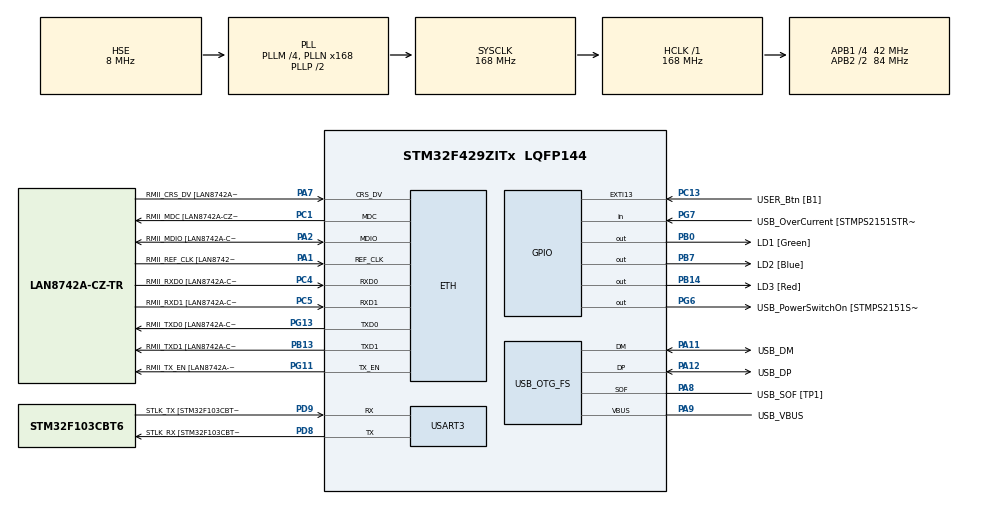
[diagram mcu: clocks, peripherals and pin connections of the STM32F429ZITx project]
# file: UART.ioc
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ETH.MediaInterface=HAL_ETH_RMII_MODE
ETH.PHY_Name=LAN8742A_PHY_ADDRESS
ETH.PHY_Value=0
ETH.PhyAddress=0
Mcu.Family=STM32F4
Mcu.Name=STM32F429ZITx
Mcu.Package=LQFP144
NVIC.PriorityGroup=NVIC_PRIORITYGROUP_4
NVIC.USART3_IRQn=true\:0\:0\:false\:true\:true\:1\:true\:true\:true
PA1.GPIO_Label=RMII_REF_CLK [LAN8742A-CZ-TR_REFCLK0]
PA1.Mode=RMII
PA1.Signal=ETH_REF_CLK
PA10.GPIO_Label=USB_ID
PA10.Signal=USB_OTG_FS_ID
PA11.GPIO_Label=USB_DM
PA11.Mode=Device_Only
PA11.Signal=USB_OTG_FS_DM
PA12.GPIO_Label=USB_DP
PA12.Mode=Device_Only
PA12.Signal=USB_OTG_FS_DP
PA13.GPIO_Label=TMS
PA13.Mode=Serial_Wire
PA13.Signal=SYS_JTMS-SWDIO
PA14.GPIO_Label=TCK
PA14.Mode=Serial_Wire
PA14.Signal=SYS_JTCK-SWCLK
PA2.GPIO_Label=RMII_MDIO [LAN8742A-CZ-TR_MDIO]
PA2.Mode=RMII
PA2.Signal=ETH_MDIO
PA7.GPIO_Label=RMII_CRS_DV [LAN8742A-CZ-TR_CRS_DV]
PA7.Mode=RMII
PA7.Signal=ETH_CRS_DV
PA8.GPIO_Label=USB_SOF [TP1]
PA8.Mode=Activate_SOF_FS
PA8.Signal=USB_OTG_FS_SOF
PA9.GPIO_Label=USB_VBUS
PA9.Mode=Activate_VBUS
PA9.Signal=USB_OTG_FS_VBUS
PB0.GPIO_Label=LD1 [Green]
PB0.Signal=GPIO_Output
PB13.GPIO_Label=RMII_TXD1 [LAN8742A-CZ-TR_TXD1]
PB13.Mode=RMII
PB13.Signal=ETH_TXD1
PB14.GPIO_Label=LD3 [Red]
PB14.Signal=GPIO_Output
PB7.GPIO_Label=LD2 [Blue]
PB7.Signal=GPIO_Output
PC1.GPIO_Label=RMII_MDC [LAN8742A-CZ-TR_MDC]
PC1.Mode=RMII
PC1.Signal=ETH_MDC
PC13.GPIO_Label=USER_Btn [B1]
PC13.Signal=GPXTI13
PC14/OSC32_IN.Mode=LSE-External-Oscillator
PC14/OSC32_IN.Signal=RCC_OSC32_IN
PC15/OSC32_OUT.Mode=LSE-External-Oscillator
PC15/OSC32_OUT.Signal=RCC_OSC32_OUT
PC4.GPIO_Label=RMII_RXD0 [LAN8742A-CZ-TR_RXD0]
PC4.Mode=RMII
PC4.Signal=ETH_RXD0
PC5.GPIO_Label=RMII_RXD1 [LAN8742A-CZ-TR_RXD1]
PC5.Mode=RMII
PC5.Signal=ETH_RXD1
PD8.GPIO_Label=STLK_RX [STM32F103CBT6_PA3]
PD8.Mode=Asynchronous
PD8.Signal=USART3_TX
PD9.GPIO_Label=STLK_TX [STM32F103CBT6_PA2]
PD9.Mode=Asynchronous
PD9.Signal=USART3_RX
PG11.GPIO_Label=RMII_TX_EN [LAN8742A-CZ-TR_TXEN]
PG11.Mode=RMII
PG11.Signal=ETH_TX_EN
PG13.GPIO_Label=RMII_TXD0 [LAN8742A-CZ-TR_TXD0]
PG13.Mode=RMII
PG13.Signal=ETH_TXD0
PG6.GPIO_Label=USB_PowerSwitchOn [STMPS2151STR_EN]
PG6.Signal=GPIO_Output
PG7.GPIO_Label=USB_OverCurrent [STMPS2151STR_FAULT]
PG7.Signal=GPIO_Input
PH0/OSC_IN.GPIO_Label=MCO [STM32F103CBT6_PA8]
PH0/OSC_IN.Mode=HSE-External-Clock-Source
PH0/OSC_IN.Signal=RCC_OSC_IN
PH1/OSC_OUT.Mode=HSE-External-Clock-Source
PH1/OSC_OUT.Signal=RCC_OSC_OUT
ProjectManager.HeapSize=0x200
ProjectManager.StackSize=0x400
ProjectManager.TargetToolchain=STM32CubeIDE
RCC.48MHZClocksFreq_Value=48000000
RCC.AHBFreq_Value=168000000
RCC.APB1CLKDivider=RCC_HCLK_DIV4
RCC.APB1Freq_Value=42000000
RCC.APB1TimFreq_Value=84000000
RCC.APB2CLKDivider=RCC_HCLK_DIV2
RCC.APB2Freq_Value=84000000
RCC.APB2TimCLKDivider=2
RCC.APB2TimFreq_Value=168000000
RCC.CortexFreq_Value=168000000
RCC.HCLKFreq_Value=168000000
RCC.HSE_VALUE=8000000
RCC.HSI_VALUE=16000000
RCC.PLLM=4
RCC.PLLMUL=RCC_PLL_MUL9
RCC.PLLN=168
RCC.PLLQ=7
RCC.PRESCALERUSB=RCC_USBCLKSOURCE_PLL_DIV1_5
RCC.SYSCLKFreq_VALUE=168000000
RCC.SYSCLKSource=RCC_SYSCLKSOURCE_PLLCLK
RCC.SYSCLKSourceVirtual=RCC_SYSCLKSOURCE_PLLCLK
RCC.USBFreq_Value=48000000
RCC.VCOOutputFreq_Value=336000000
USART3.VirtualMode=VM_ASYNC
USB_OTG_FS.VirtualMode=Device_Only
board=NUCLEO-F429ZI

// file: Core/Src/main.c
/* USER CODE BEGIN Header */
/**
  ******************************************************************************
  * @file           : main.c
  * @brief          : Main program body
  ******************************************************************************
  * @attention
  *
  * Copyright (c) 2023 STMicroelectronics.
  * All rights reserved.
  *
  * This software is licensed under terms that can be found in the LICENSE file
  * in the root directory of this software component.
  * If no LICENSE file comes with this software, it is provided AS-IS.
  *
  ******************************************************************************
  */
/* USER CODE END Header */
#include "main.h"
#include "string.h"

/* USER CODE BEGIN Includes */
#include "stdio.h"

/* USER CODE END Includes */

ETH_TxPacketConfig TxConfig;
ETH_DMADescTypeDef  DMARxDscrTab[ETH_RX_DESC_CNT]; /* Ethernet Rx DMA Descriptors */
ETH_DMADescTypeDef  DMATxDscrTab[ETH_TX_DESC_CNT]; /* Ethernet Tx DMA Descriptors */

ETH_HandleTypeDef heth;

UART_HandleTypeDef huart3;

PCD_HandleTypeDef hpcd_USB_OTG_FS;

void SystemClock_Config(void);
static void MX_GPIO_Init(void);
static void MX_ETH_Init(void);
static void MX_USART3_UART_Init(void);
static void MX_USB_OTG_FS_PCD_Init(void);
static void MX_NVIC_Init(void);
/* USER CODE BEGIN PFP */

int _write(int fd, char *ptr, int len){
	HAL_UART_Transmit(&huart3, (unsigned char*)ptr, len, HAL_MAX_DELAY);
	return len;
}

int _read(int file, char *ptr, int len){
	HAL_UART_Receive(&huart3, (unsigned char*)ptr, len, HAL_MAX_DELAY);
	return len;
}

int __io_putchar(int ch){
	HAL_UART_Transmit(&huart3, (unsigned char*)&ch, 1, HAL_MAX_DELAY);
	return ch;
}

int __io_getchar(void){
	uint8_t ch = 0;
	HAL_UART_Receive(&huart3, (uint8_t *)&ch, 1, HAL_MAX_DELAY);
	return ch;
}
/* USER CODE END PFP */

/* USER CODE BEGIN 0 */
uint8_t data[] = "Hello STM32F429 World!!\n";
char uart_buf[30];
/* USER CODE END 0 */

int main(void)
{

  /* MCU Configuration--------------------------------------------------------*/

  /* Reset of all peripherals, Initializes the Flash interface and the Systick. */
  HAL_Init();

  /* Configure the system clock */
  SystemClock_Config();

  /* Initialize all configured peripherals */
  MX_GPIO_Init();
  MX_ETH_Init();
  MX_USART3_UART_Init();
  MX_USB_OTG_FS_PCD_Init();

  /* Initialize interrupts */
  MX_NVIC_Init();
  /* USER CODE BEGIN 2 */
  //char *str = "Hello world!";

  char str_2[256] = {0, };

  setvbuf(stdin, NULL, _IONBF, 0);
  setvbuf(stdout, NULL, _IONBF, 0);

  /* USER CODE END 2 */

  /* Infinite loop */
  while (1)
  {

	  if(HAL_UART_Receive(&huart3, (uint8_t *)&uart_buf,1,1000) == HAL_OK){
		  HAL_UART_Transmit(&huart3,(uint8_t *)&uart_buf, 1, 1000);
	  }
//	  scanf("%s", str_2);
//	  printf("%s\r\n", str_2);
//	  //printf("%s\r\n", str);
//	  HAL_Delay(500);
  }
}

void SystemClock_Config(void)
{
  RCC_OscInitTypeDef RCC_OscInitStruct = {0};
  RCC_ClkInitTypeDef RCC_ClkInitStruct = {0};

  /** Configure the main internal regulator output voltage
  */
  __HAL_RCC_PWR_CLK_ENABLE();
  __HAL_PWR_VOLTAGESCALING_CONFIG(PWR_REGULATOR_VOLTAGE_SCALE1);

  /** Initializes the RCC Oscillators according to the specified parameters
  * in the RCC_OscInitTypeDef structure.
  */
  RCC_OscInitStruct.OscillatorType = RCC_OSCILLATORTYPE_HSE;
  RCC_OscInitStruct.HSEState = RCC_HSE_BYPASS;
  RCC_OscInitStruct.PLL.PLLState = RCC_PLL_ON;
  RCC_OscInitStruct.PLL.PLLSource = RCC_PLLSOURCE_HSE;
  RCC_OscInitStruct.PLL.PLLM = 4;
  RCC_OscInitStruct.PLL.PLLN = 168;
  RCC_OscInitStruct.PLL.PLLP = RCC_PLLP_DIV2;
  RCC_OscInitStruct.PLL.PLLQ = 7;
  if (HAL_RCC_OscConfig(&RCC_OscInitStruct) != HAL_OK)
  {
    Error_Handler();
  }

  /** Initializes the CPU, AHB and APB buses clocks
  */
  RCC_ClkInitStruct.ClockType = RCC_CLOCKTYPE_HCLK|RCC_CLOCKTYPE_SYSCLK
                              |RCC_CLOCKTYPE_PCLK1|RCC_CLOCKTYPE_PCLK2;
  RCC_ClkInitStruct.SYSCLKSource = RCC_SYSCLKSOURCE_PLLCLK;
  RCC_ClkInitStruct.AHBCLKDivider = RCC_SYSCLK_DIV1;
  RCC_ClkInitStruct.APB1CLKDivider = RCC_HCLK_DIV4;
  RCC_ClkInitStruct.APB2CLKDivider = RCC_HCLK_DIV2;

  if (HAL_RCC_ClockConfig(&RCC_ClkInitStruct, FLASH_LATENCY_5) != HAL_OK)
  {
    Error_Handler();
  }
}

/**
  * @brief NVIC Configuration.
  * @retval None
  */
static void MX_NVIC_Init(void)
{
  /* USART3_IRQn interrupt configuration */
  HAL_NVIC_SetPriority(USART3_IRQn, 0, 0);
  HAL_NVIC_EnableIRQ(USART3_IRQn);
}

static void MX_ETH_Init(void)
{

   static uint8_t MACAddr[6];

  heth.Instance = ETH;
  MACAddr[0] = 0x00;
  MACAddr[1] = 0x80;
  MACAddr[2] = 0xE1;
  MACAddr[3] = 0x00;
  MACAddr[4] = 0x00;
  MACAddr[5] = 0x00;
  heth.Init.MACAddr = &MACAddr[0];
  heth.Init.MediaInterface = HAL_ETH_RMII_MODE;
  heth.Init.TxDesc = DMATxDscrTab;
  heth.Init.RxDesc = DMARxDscrTab;
  heth.Init.RxBuffLen = 1524;

  if (HAL_ETH_Init(&heth) != HAL_OK)
  {
    Error_Handler();
  }

  memset(&TxConfig, 0 , sizeof(ETH_TxPacketConfig));
  TxConfig.Attributes = ETH_TX_PACKETS_FEATURES_CSUM | ETH_TX_PACKETS_FEATURES_CRCPAD;
  TxConfig.ChecksumCtrl = ETH_CHECKSUM_IPHDR_PAYLOAD_INSERT_PHDR_CALC;
  TxConfig.CRCPadCtrl = ETH_CRC_PAD_INSERT;

}

static void MX_USART3_UART_Init(void)
{

  huart3.Instance = USART3;
  huart3.Init.BaudRate = 115200;
  huart3.Init.WordLength = UART_WORDLENGTH_8B;
  huart3.Init.StopBits = UART_STOPBITS_1;
  huart3.Init.Parity = UART_PARITY_NONE;
  huart3.Init.Mode = UART_MODE_TX_RX;
  huart3.Init.HwFlowCtl = UART_HWCONTROL_NONE;
  huart3.Init.OverSampling = UART_OVERSAMPLING_16;
  if (HAL_UART_Init(&huart3) != HAL_OK)
  {
    Error_Handler();
  }

}

static void MX_USB_OTG_FS_PCD_Init(void)
{

  hpcd_USB_OTG_FS.Instance = USB_OTG_FS;
  hpcd_USB_OTG_FS.Init.dev_endpoints = 4;
  hpcd_USB_OTG_FS.Init.speed = PCD_SPEED_FULL;
  hpcd_USB_OTG_FS.Init.dma_enable = DISABLE;
  hpcd_USB_OTG_FS.Init.phy_itface = PCD_PHY_EMBEDDED;
  hpcd_USB_OTG_FS.Init.Sof_enable = ENABLE;
  hpcd_USB_OTG_FS.Init.low_power_enable = DISABLE;
  hpcd_USB_OTG_FS.Init.lpm_enable = DISABLE;
  hpcd_USB_OTG_FS.Init.vbus_sensing_enable = ENABLE;
  hpcd_USB_OTG_FS.Init.use_dedicated_ep1 = DISABLE;
  if (HAL_PCD_Init(&hpcd_USB_OTG_FS) != HAL_OK)
  {
    Error_Handler();
  }

}

static void MX_GPIO_Init(void)
{
  GPIO_InitTypeDef GPIO_InitStruct = {0};

  /* GPIO Ports Clock Enable */
  __HAL_RCC_GPIOC_CLK_ENABLE();
  __HAL_RCC_GPIOH_CLK_ENABLE();
  __HAL_RCC_GPIOA_CLK_ENABLE();
  __HAL_RCC_GPIOB_CLK_ENABLE();
  __HAL_RCC_GPIOD_CLK_ENABLE();
  __HAL_RCC_GPIOG_CLK_ENABLE();

  /*Configure GPIO pin Output Level */
  HAL_GPIO_WritePin(GPIOB, LD1_Pin|LD3_Pin|LD2_Pin, GPIO_PIN_RESET);

  /*Configure GPIO pin Output Level */
  HAL_GPIO_WritePin(USB_PowerSwitchOn_GPIO_Port, USB_PowerSwitchOn_Pin, GPIO_PIN_RESET);

  /*Configure GPIO pin : USER_Btn_Pin */
  GPIO_InitStruct.Pin = USER_Btn_Pin;
  GPIO_InitStruct.Mode = GPIO_MODE_IT_RISING;
  GPIO_InitStruct.Pull = GPIO_NOPULL;
  HAL_GPIO_Init(USER_Btn_GPIO_Port, &GPIO_InitStruct);

  /*Configure GPIO pins : LD1_Pin LD3_Pin LD2_Pin */
  GPIO_InitStruct.Pin = LD1_Pin|LD3_Pin|LD2_Pin;
  GPIO_InitStruct.Mode = GPIO_MODE_OUTPUT_PP;
  GPIO_InitStruct.Pull = GPIO_NOPULL;
  GPIO_InitStruct.Speed = GPIO_SPEED_FREQ_LOW;
  HAL_GPIO_Init(GPIOB, &GPIO_InitStruct);

  /*Configure GPIO pin : USB_PowerSwitchOn_Pin */
  GPIO_InitStruct.Pin = USB_PowerSwitchOn_Pin;
  GPIO_InitStruct.Mode = GPIO_MODE_OUTPUT_PP;
  GPIO_InitStruct.Pull = GPIO_NOPULL;
  GPIO_InitStruct.Speed = GPIO_SPEED_FREQ_LOW;
  HAL_GPIO_Init(USB_PowerSwitchOn_GPIO_Port, &GPIO_InitStruct);

  /*Configure GPIO pin : USB_OverCurrent_Pin */
  GPIO_InitStruct.Pin = USB_OverCurrent_Pin;
  GPIO_InitStruct.Mode = GPIO_MODE_INPUT;
  GPIO_InitStruct.Pull = GPIO_NOPULL;
  HAL_GPIO_Init(USB_OverCurrent_GPIO_Port, &GPIO_InitStruct);

}

void Error_Handler(void)
{
  __disable_irq();
  while (1)
  {
  }
}
